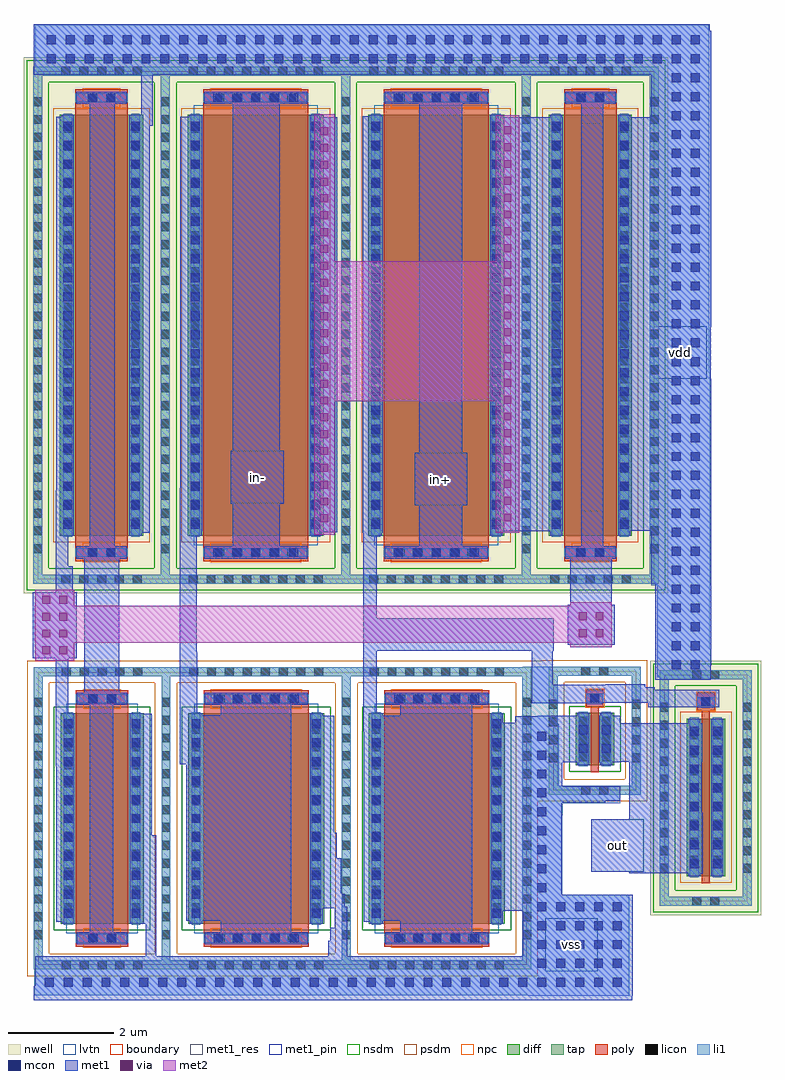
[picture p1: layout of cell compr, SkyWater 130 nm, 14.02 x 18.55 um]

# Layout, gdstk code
import gdstk
lib = gdstk.Library(unit=1e-6, precision=1e-09)
def R(c, l, rs):  # rectangles x0, y0, x1, y1
    for r in rs: c.add(gdstk.rectangle(r[:2], r[2:], *l))
def A(c, l, x, y, w, h, nx, ny, dx, dy):  # array of equal rectangles
    R(c, l, [(x+i*dx, y+j*dy, x+i*dx+w, y+j*dy+h) for i in range(nx) for j in range(ny)])
nwell = (64, 20)
diff = (65, 20)
tap = (65, 44)
poly = (66, 20)
licon = (66, 44)
li1 = (67, 20)
mcon = (67, 44)
met1_res = (68, 13)
met1_pin = (68, 16)
met1 = (68, 20)
via = (68, 44)
met2 = (69, 20)
nsdm = (93, 44)
psdm = (94, 20)
npc = (95, 20)
lvtn = (125, 44)
boundary = (235, 4)

sky130_fd_pr__nfet_01v8_ = lib.new_cell('sky130_fd_pr__nfet_01v8_64Z3AY')
R(sky130_fd_pr__nfet_01v8_, diff, [(-0.365,-0.655,0.365,0.345)])
R(sky130_fd_pr__nfet_01v8_, tap, [(-0.875,-1.215,0.875,-1.045), (-0.875,-1.045,-0.705,1.045), (0.705,-1.045,0.875,1.045), (-0.875,1.045,0.875,1.215)])
R(sky130_fd_pr__nfet_01v8_, poly, [(-0.075,-0.785,0.075,0.455), (-0.165,0.455,0.165,0.785)])
A(sky130_fd_pr__nfet_01v8_, licon, -0.875, -0.595, 0.17, 0.17, 1, 4, 0, 0.34)
A(sky130_fd_pr__nfet_01v8_, licon, 0.705, -0.595, 0.17, 0.17, 1, 4, 0, 0.34)
A(sky130_fd_pr__nfet_01v8_, licon, -0.305, -0.58, 0.17, 0.17, 1, 3, 0, 0.34)
A(sky130_fd_pr__nfet_01v8_, licon, 0.135, -0.58, 0.17, 0.17, 1, 3, 0, 0.34)
R(sky130_fd_pr__nfet_01v8_, licon, [(-0.255,-1.215,-0.085,-1.045), (0.085,-1.215,0.255,-1.045), (-0.085,0.535,0.085,0.705), (-0.255,1.045,-0.085,1.215), (0.085,1.045,0.255,1.215)])
R(sky130_fd_pr__nfet_01v8_, li1, [(-0.875,-1.215,0.875,-1.045), (-0.875,-1.045,-0.705,1.045), (0.705,-1.045,0.875,1.045), (-0.305,-0.675,-0.135,0.365), (0.135,-0.675,0.305,0.365), (-0.165,0.535,0.165,0.705), (-0.875,1.045,0.875,1.215)])
R(sky130_fd_pr__nfet_01v8_, mcon, [(-0.305,-0.42,-0.135,-0.25), (0.135,-0.42,0.305,-0.25), (-0.305,-0.06,-0.135,0.11), (0.135,-0.06,0.305,0.11), (-0.085,0.535,0.085,0.705)])
R(sky130_fd_pr__nfet_01v8_, met1, [(-0.335,-0.655,-0.105,0.345), (0.105,-0.655,0.335,0.345), (-0.145,0.505,0.145,0.735)])
R(sky130_fd_pr__nfet_01v8_, nsdm, [(-0.49,-0.78,0.49,0.47)])
R(sky130_fd_pr__nfet_01v8_, psdm, [(-1,-1.34,1,-0.92), (-1,-0.92,-0.58,0.92), (0.58,-0.92,1,0.92), (-1,0.92,1,1.34)])
R(sky130_fd_pr__nfet_01v8_, npc, [(-0.185,0.435,0.185,0.805)])
R(sky130_fd_pr__nfet_01v8_, boundary, [(-0.79,-1.13,0.79,1.13)])

c_sky130_fd_pr__nfet_01v8_ = lib.new_cell('sky130_fd_pr__nfet_01v8_lvt_AHMAL2')
R(c_sky130_fd_pr__nfet_01v8_, diff, [(-0.79,-2,0.79,2)])
R(c_sky130_fd_pr__nfet_01v8_, tap, [(-1.3,-2.87,1.3,-2.7), (-1.3,-2.7,-1.13,2.7), (1.13,-2.7,1.3,2.7), (-1.3,2.7,1.3,2.87)])
R(c_sky130_fd_pr__nfet_01v8_, poly, [(-0.5,-2.44,0.5,2.44)])
A(c_sky130_fd_pr__nfet_01v8_, licon, -0.765, -2.87, 0.17, 0.17, 5, 2, 0.34, 5.57)
A(c_sky130_fd_pr__nfet_01v8_, licon, -1.3, -2.295, 0.17, 0.17, 1, 14, 0, 0.34)
A(c_sky130_fd_pr__nfet_01v8_, licon, 1.13, -2.295, 0.17, 0.17, 1, 14, 0, 0.34)
A(c_sky130_fd_pr__nfet_01v8_, licon, -0.73, -1.785, 0.17, 0.17, 1, 11, 0, 0.34)
A(c_sky130_fd_pr__nfet_01v8_, licon, 0.56, -1.785, 0.17, 0.17, 1, 11, 0, 0.34)
R(c_sky130_fd_pr__nfet_01v8_, licon, [(-0.255,-2.36,-0.085,-2.19), (0.085,-2.36,0.255,-2.19), (-0.255,2.19,-0.085,2.36), (0.085,2.19,0.255,2.36)])
R(c_sky130_fd_pr__nfet_01v8_, li1, [(-1.3,-2.87,1.3,-2.7), (-1.3,-2.7,-1.13,2.7), (1.13,-2.7,1.3,2.7), (-0.5,-2.36,0.5,-2.19), (-0.73,-2.02,-0.56,2.02), (0.56,-2.02,0.73,2.02), (-0.5,2.19,0.5,2.36), (-1.3,2.7,1.3,2.87)])
A(c_sky130_fd_pr__nfet_01v8_, mcon, -0.73, -1.885, 0.17, 0.17, 1, 11, 0, 0.36)
A(c_sky130_fd_pr__nfet_01v8_, mcon, 0.56, -1.885, 0.17, 0.17, 1, 11, 0, 0.36)
R(c_sky130_fd_pr__nfet_01v8_, mcon, [(-0.265,-2.36,-0.095,-2.19), (0.095,-2.36,0.265,-2.19), (-0.265,2.19,-0.095,2.36), (0.095,2.19,0.265,2.36)])
R(c_sky130_fd_pr__nfet_01v8_, met1, [(-0.48,-2.39,0.48,-2.16), (-0.76,-2,-0.53,2), (0.53,-2,0.76,2), (-0.48,2.16,0.48,2.39)])
R(c_sky130_fd_pr__nfet_01v8_, nsdm, [(-0.915,-2.125,0.915,2.125)])
R(c_sky130_fd_pr__nfet_01v8_, psdm, [(-1.425,-2.995,1.425,-2.575), (-1.425,-2.575,-1.005,2.575), (1.005,-2.575,1.425,2.575), (-1.425,2.575,1.425,2.995)])
R(c_sky130_fd_pr__nfet_01v8_, npc, [(-0.355,-2.46,0.355,-2.09), (-0.355,2.09,0.355,2.46)])
R(c_sky130_fd_pr__nfet_01v8_, lvtn, [(-0.68,-2.18,0.68,2.18)])
R(c_sky130_fd_pr__nfet_01v8_, boundary, [(-1.21,-2.78,1.21,2.78)])

c_sky130_fd_pr__nfet_01v8__ = lib.new_cell('sky130_fd_pr__nfet_01v8_lvt_AHRV9L')
R(c_sky130_fd_pr__nfet_01v8__, diff, [(-1.29,-2,1.29,2)])
R(c_sky130_fd_pr__nfet_01v8__, tap, [(-1.8,-2.87,1.8,-2.7), (-1.8,-2.7,-1.63,2.7), (1.63,-2.7,1.8,2.7), (-1.8,2.7,1.8,2.87)])
R(c_sky130_fd_pr__nfet_01v8__, poly, [(-1,-2.44,1,2.44)])
A(c_sky130_fd_pr__nfet_01v8__, licon, -1.275, -2.87, 0.17, 0.17, 8, 2, 0.34, 5.57)
A(c_sky130_fd_pr__nfet_01v8__, licon, -0.765, -2.36, 0.17, 0.17, 5, 2, 0.34, 4.55)
A(c_sky130_fd_pr__nfet_01v8__, licon, -1.8, -2.295, 0.17, 0.17, 1, 14, 0, 0.34)
A(c_sky130_fd_pr__nfet_01v8__, licon, 1.63, -2.295, 0.17, 0.17, 1, 14, 0, 0.34)
A(c_sky130_fd_pr__nfet_01v8__, licon, -1.23, -1.785, 0.17, 0.17, 1, 11, 0, 0.34)
A(c_sky130_fd_pr__nfet_01v8__, licon, 1.06, -1.785, 0.17, 0.17, 1, 11, 0, 0.34)
R(c_sky130_fd_pr__nfet_01v8__, li1, [(-1.8,-2.87,1.8,-2.7), (-1.8,-2.7,-1.63,2.7), (1.63,-2.7,1.8,2.7), (-1,-2.36,1,-2.19), (-1.23,-2.02,-1.06,2.02), (1.06,-2.02,1.23,2.02), (-1,2.19,1,2.36), (-1.8,2.7,1.8,2.87)])
A(c_sky130_fd_pr__nfet_01v8__, mcon, -0.805, -2.36, 0.17, 0.17, 5, 2, 0.36, 4.55)
A(c_sky130_fd_pr__nfet_01v8__, mcon, -1.23, -1.885, 0.17, 0.17, 1, 11, 0, 0.36)
A(c_sky130_fd_pr__nfet_01v8__, mcon, 1.06, -1.885, 0.17, 0.17, 1, 11, 0, 0.36)
R(c_sky130_fd_pr__nfet_01v8__, met1, [(-0.98,-2.39,0.98,-2.16), (-1.26,-2,-1.03,2), (1.03,-2,1.26,2), (-0.98,2.16,0.98,2.39)])
R(c_sky130_fd_pr__nfet_01v8__, nsdm, [(-1.415,-2.125,1.415,2.125)])
R(c_sky130_fd_pr__nfet_01v8__, psdm, [(-1.925,-2.995,1.925,-2.575), (-1.925,-2.575,-1.505,2.575), (1.505,-2.575,1.925,2.575), (-1.925,2.575,1.925,2.995)])
R(c_sky130_fd_pr__nfet_01v8__, npc, [(-0.865,-2.46,0.865,-2.09), (-0.865,2.09,0.865,2.46)])
R(c_sky130_fd_pr__nfet_01v8__, lvtn, [(-1.18,-2.18,1.18,2.18)])
R(c_sky130_fd_pr__nfet_01v8__, boundary, [(-1.71,-2.78,1.71,2.78)])

sky130_fd_pr__pfet_01v8_ = lib.new_cell('sky130_fd_pr__pfet_01v8_3H2EVM')
R(sky130_fd_pr__pfet_01v8_, nwell, [(-1.48,-5.095,1.48,5.095)])
R(sky130_fd_pr__pfet_01v8_, diff, [(-0.79,-4,0.79,4)])
R(sky130_fd_pr__pfet_01v8_, tap, [(-1.3,-4.915,1.3,-4.745), (-1.3,-4.745,-1.13,4.745), (1.13,-4.745,1.3,4.745), (-1.3,4.745,1.3,4.915)])
R(sky130_fd_pr__pfet_01v8_, poly, [(-0.5,-4.485,0.5,4.485)])
A(sky130_fd_pr__pfet_01v8_, licon, -0.765, -4.915, 0.17, 0.17, 5, 2, 0.34, 9.66)
A(sky130_fd_pr__pfet_01v8_, licon, -1.3, -4.335, 0.17, 0.17, 1, 26, 0, 0.34)
A(sky130_fd_pr__pfet_01v8_, licon, 1.13, -4.335, 0.17, 0.17, 1, 26, 0, 0.34)
A(sky130_fd_pr__pfet_01v8_, licon, -0.73, -3.825, 0.17, 0.17, 1, 23, 0, 0.34)
A(sky130_fd_pr__pfet_01v8_, licon, 0.56, -3.825, 0.17, 0.17, 1, 23, 0, 0.34)
R(sky130_fd_pr__pfet_01v8_, licon, [(-0.255,-4.405,-0.085,-4.235), (0.085,-4.405,0.255,-4.235), (-0.255,4.235,-0.085,4.405), (0.085,4.235,0.255,4.405)])
R(sky130_fd_pr__pfet_01v8_, li1, [(-1.3,-4.915,1.3,-4.745), (-1.3,-4.745,-1.13,4.745), (1.13,-4.745,1.3,4.745), (-0.5,-4.405,0.5,-4.235), (-0.73,-4.02,-0.56,4.02), (0.56,-4.02,0.73,4.02), (-0.5,4.235,0.5,4.405), (-1.3,4.745,1.3,4.915)])
A(sky130_fd_pr__pfet_01v8_, mcon, -0.73, -3.865, 0.17, 0.17, 1, 22, 0, 0.36)
A(sky130_fd_pr__pfet_01v8_, mcon, 0.56, -3.865, 0.17, 0.17, 1, 22, 0, 0.36)
R(sky130_fd_pr__pfet_01v8_, mcon, [(-0.265,-4.405,-0.095,-4.235), (0.095,-4.405,0.265,-4.235), (-0.265,4.235,-0.095,4.405), (0.095,4.235,0.265,4.405)])
R(sky130_fd_pr__pfet_01v8_, met1, [(-0.48,-4.435,0.48,-4.205), (-0.76,-4,-0.53,4), (0.53,-4,0.76,4), (-0.48,4.205,0.48,4.435)])
R(sky130_fd_pr__pfet_01v8_, nsdm, [(-1.425,-5.04,1.425,-4.62), (-1.425,-4.62,-1.005,4.62), (1.005,-4.62,1.425,4.62), (-1.425,4.62,1.425,5.04)])
R(sky130_fd_pr__pfet_01v8_, psdm, [(-0.915,-4.125,0.915,4.125)])
R(sky130_fd_pr__pfet_01v8_, npc, [(-0.355,-4.505,0.355,-4.135), (-0.355,4.135,0.355,4.505)])
R(sky130_fd_pr__pfet_01v8_, boundary, [(-1.215,-4.83,1.215,4.83)])

c_sky130_fd_pr__pfet_01v8_ = lib.new_cell('sky130_fd_pr__pfet_01v8_lvt_GWPMZG')
R(c_sky130_fd_pr__pfet_01v8_, nwell, [(-1.98,-5.095,1.98,5.095)])
R(c_sky130_fd_pr__pfet_01v8_, diff, [(-1.29,-4,1.29,4)])
R(c_sky130_fd_pr__pfet_01v8_, tap, [(-1.8,-4.915,1.8,-4.745), (-1.8,-4.745,-1.63,4.745), (1.63,-4.745,1.8,4.745), (-1.8,4.745,1.8,4.915)])
R(c_sky130_fd_pr__pfet_01v8_, poly, [(-1,-4.485,1,4.485)])
A(c_sky130_fd_pr__pfet_01v8_, licon, -1.275, -4.915, 0.17, 0.17, 8, 2, 0.34, 9.66)
A(c_sky130_fd_pr__pfet_01v8_, licon, -0.765, -4.405, 0.17, 0.17, 5, 2, 0.34, 8.64)
A(c_sky130_fd_pr__pfet_01v8_, licon, -1.8, -4.335, 0.17, 0.17, 1, 26, 0, 0.34)
A(c_sky130_fd_pr__pfet_01v8_, licon, 1.63, -4.335, 0.17, 0.17, 1, 26, 0, 0.34)
A(c_sky130_fd_pr__pfet_01v8_, licon, -1.23, -3.825, 0.17, 0.17, 1, 23, 0, 0.34)
A(c_sky130_fd_pr__pfet_01v8_, licon, 1.06, -3.825, 0.17, 0.17, 1, 23, 0, 0.34)
R(c_sky130_fd_pr__pfet_01v8_, li1, [(-1.8,-4.915,1.8,-4.745), (-1.8,-4.745,-1.63,4.745), (1.63,-4.745,1.8,4.745), (-1,-4.405,1,-4.235), (-1.23,-4.02,-1.06,4.02), (1.06,-4.02,1.23,4.02), (-1,4.235,1,4.405), (-1.8,4.745,1.8,4.915)])
A(c_sky130_fd_pr__pfet_01v8_, mcon, -0.805, -4.405, 0.17, 0.17, 5, 2, 0.36, 8.64)
A(c_sky130_fd_pr__pfet_01v8_, mcon, -1.23, -3.865, 0.17, 0.17, 1, 22, 0, 0.36)
A(c_sky130_fd_pr__pfet_01v8_, mcon, 1.06, -3.865, 0.17, 0.17, 1, 22, 0, 0.36)
R(c_sky130_fd_pr__pfet_01v8_, met1, [(-0.98,-4.435,0.98,-4.205), (-1.26,-4,-1.03,4), (1.03,-4,1.26,4), (-0.98,4.205,0.98,4.435)])
R(c_sky130_fd_pr__pfet_01v8_, nsdm, [(-1.925,-5.04,1.925,-4.62), (-1.925,-4.62,-1.505,4.62), (1.505,-4.62,1.925,4.62), (-1.925,4.62,1.925,5.04)])
R(c_sky130_fd_pr__pfet_01v8_, psdm, [(-1.415,-4.125,1.415,4.125)])
R(c_sky130_fd_pr__pfet_01v8_, npc, [(-0.865,-4.505,0.865,-4.135), (-0.865,4.135,0.865,4.505)])
R(c_sky130_fd_pr__pfet_01v8_, lvtn, [(-1.18,-4.18,1.18,4.18)])
R(c_sky130_fd_pr__pfet_01v8_, boundary, [(-1.715,-4.83,1.715,4.83)])

c_sky130_fd_pr__pfet_01v8__ = lib.new_cell('sky130_fd_pr__pfet_01v8_MGSNAN')
R(c_sky130_fd_pr__pfet_01v8__, nwell, [(-1.055,-2.42,1.055,2.42)])
R(c_sky130_fd_pr__pfet_01v8__, diff, [(-0.365,-1.68,0.365,1.32)])
R(c_sky130_fd_pr__pfet_01v8__, tap, [(-0.875,-2.24,0.875,-2.07), (-0.875,-2.07,-0.705,2.07), (0.705,-2.07,0.875,2.07), (-0.875,2.07,0.875,2.24)])
R(c_sky130_fd_pr__pfet_01v8__, poly, [(-0.075,-1.81,0.075,1.475), (-0.165,1.475,0.165,1.805)])
A(c_sky130_fd_pr__pfet_01v8__, licon, -0.875, -1.615, 0.17, 0.17, 1, 10, 0, 0.34)
A(c_sky130_fd_pr__pfet_01v8__, licon, 0.705, -1.615, 0.17, 0.17, 1, 10, 0, 0.34)
A(c_sky130_fd_pr__pfet_01v8__, licon, -0.305, -1.455, 0.17, 0.17, 1, 8, 0, 0.34)
A(c_sky130_fd_pr__pfet_01v8__, licon, 0.135, -1.455, 0.17, 0.17, 1, 8, 0, 0.34)
R(c_sky130_fd_pr__pfet_01v8__, licon, [(-0.255,-2.24,-0.085,-2.07), (0.085,-2.24,0.255,-2.07), (-0.085,1.555,0.085,1.725), (-0.255,2.07,-0.085,2.24), (0.085,2.07,0.255,2.24)])
R(c_sky130_fd_pr__pfet_01v8__, li1, [(-0.875,-2.24,0.875,-2.07), (-0.875,-2.07,-0.705,2.07), (0.705,-2.07,0.875,2.07), (-0.305,-1.7,-0.135,1.34), (0.135,-1.7,0.305,1.34), (-0.165,1.555,0.165,1.725), (-0.875,2.07,0.875,2.24)])
A(c_sky130_fd_pr__pfet_01v8__, mcon, -0.305, -1.525, 0.17, 0.17, 1, 8, 0, 0.36)
A(c_sky130_fd_pr__pfet_01v8__, mcon, 0.135, -1.525, 0.17, 0.17, 1, 8, 0, 0.36)
R(c_sky130_fd_pr__pfet_01v8__, mcon, [(-0.085,1.555,0.085,1.725)])
R(c_sky130_fd_pr__pfet_01v8__, met1, [(-0.335,-1.68,-0.105,1.32), (0.105,-1.68,0.335,1.32), (-0.145,1.525,0.145,1.755)])
R(c_sky130_fd_pr__pfet_01v8__, nsdm, [(-1,-2.365,1,-1.945), (-1,-1.945,-0.58,1.945), (0.58,-1.945,1,1.945), (-1,1.945,1,2.365)])
R(c_sky130_fd_pr__pfet_01v8__, psdm, [(-0.49,-1.805,0.49,1.445)])
R(c_sky130_fd_pr__pfet_01v8__, npc, [(-0.185,1.455,0.185,1.825)])
R(c_sky130_fd_pr__pfet_01v8__, boundary, [(-0.79,-2.155,0.79,2.155)])

compr = lib.new_cell('compr')
R(compr, li1, [(15.74,-1.91,17.66,-1.9), (6.35,-1.9,17.66,-1.23), (15.67,-1.23,17.66,0.01), (15.67,0.01,16.39,1.42), (15.64,1.42,16.39,1.52), (15.64,1.52,16.4,1.75), (15.64,1.75,17.49,2.07), (15.64,2.07,16.32,3.26), (15.64,3.26,16.26,4.34), (18.34,4.1,19.21,4.14), (18.19,4.14,19.21,4.67), (18.19,4.67,19.19,5.89), (18.08,5.89,19.2,9.98), (18.08,9.98,19.18,15.6), (6.37,15.6,19.18,16.44), (6.37,16.44,19.17,16.55)])
A(compr, mcon, 6.55, -1.74, 0.17, 0.17, 31, 1, 0.36, 0)
A(compr, mcon, 15.91, -1.38, 0.17, 0.17, 5, 4, 0.36, 0.36)
A(compr, mcon, 15.91, 0.06, 0.17, 0.17, 1, 9, 0, 0.36)
A(compr, mcon, 18.47, 4.295, 0.17, 0.17, 1, 32, 0, 0.36)
A(compr, mcon, 18.83, 4.295, 0.17, 0.17, 1, 32, 0, 0.36)
A(compr, mcon, 6.59, 15.815, 0.17, 0.17, 35, 2, 0.36, 0.36)
R(compr, met1_res, [(16.75,7.3,17.17,14.67)])
R(compr, met1_pin, [(16.06,-1.44,17.06,-0.44), (16.94,0.45,17.94,1.45), (13.58,7.41,14.58,8.41), (10.09,7.45,11.09,8.45), (18.13,9.82,19.13,10.82)])
R(compr, met1, [(6.34,-1.99,17.72,-1.91), (6.34,-1.91,17.73,-1.73), (6.37,-1.73,17.73,-1.16), (8.47,-1.16,8.67,-0.54), (11.94,-1.16,12.3,-0.86), (15.64,-1.16,17.73,-0.29), (7.41,-0.88,7.85,3.66), (9.9,-0.88,11.24,-0.48), (13.31,-0.88,14.68,-0.48), (11.98,-0.86,12.3,-0.62), (12.06,-0.62,12.3,-0.25), (8.24,-0.54,8.67,1.14), (6.77,-0.5,7.07,2.45), (11.65,-0.5,11.8,-0.25), (12.61,-0.5,12.96,-0.48), (9.24,-0.48,11.24,2.49), (12.61,-0.48,14.68,3.12), (15.09,-0.47,15.16,-0.29), (15.09,-0.29,17.73,0.01), (11.65,-0.25,12.3,-0.22), (11.65,-0.22,12.25,0.03), (15.09,0.01,16.38,1.76), (11.65,0.03,12.19,0.7), (18.83,0.41,19.06,0.42), (17.66,0.42,19.06,0.45), (16.94,0.45,19.06,1.45), (11.65,0.7,12.1,1.19), (8.24,1.14,8.58,3.45), (11.65,1.19,12.05,3.41), (17.66,1.45,19.06,1.58), (17.66,1.58,19.04,2.54), (15.09,1.76,17.2,1.8), (15.09,1.8,17.49,2.07), (15.09,2.07,16.39,2.53), (6.76,2.45,7.07,3.43), (9.12,2.49,11.24,3.42), (15.09,2.53,16.82,3.28), (17.09,2.53,17.49,2.54), (17.09,2.54,19.05,3.27), (12.6,3.12,14.68,3.41), (17.09,3.27,17.49,3.41), (15.09,3.28,15.17,3.39), (15.49,3.28,16.82,3.4), (15.92,3.4,16.82,3.41), (12.6,3.41,12.96,3.46), (13.31,3.41,14.68,3.82), (9.12,3.42,9.45,4.62), (9.9,3.42,11.24,3.82), (6.76,3.43,7,4.51), (12.6,3.46,12.86,4.65), (18.02,3.57,19.37,3.66), (15.81,3.65,17.12,3.66), (7.3,3.66,7.97,6.61), (15.81,3.66,19.37,3.91), (15.81,3.91,18.14,3.95), (15.81,3.95,17.96,4), (15.81,4,16.21,4.65), (17.21,4,17.96,4.01), (18.15,4.1,19.21,4.37), (18.15,4.37,19.22,5.92), (6.32,4.51,7.16,5.76), (9.12,4.62,9.44,6.92), (12.6,4.65,16.22,5.27), (16.49,4.76,17.38,5.52), (12.6,5.27,12.86,6.89), (16.54,5.52,17.33,6.62), (6.76,5.76,7.08,6.25), (18.08,5.92,19.22,6.93), (6.76,6.25,7,6.83), (13.67,6.45,14.49,7.41), (10.12,6.46,11.02,7.44), (7.41,6.61,7.88,15.26), (16.75,6.62,17.17,15.26), (6.76,6.83,7.08,7.69), (8.24,6.89,8.55,14.63), (12.59,6.89,12.97,14.81), (11.62,6.9,12.11,14.79), (9.12,6.92,9.54,7.74), (15.06,6.92,16.4,14.79), (17.5,6.93,19.22,9.81), (13.58,7.41,14.58,8.41), (10.09,7.44,11.09,8.45), (6.77,7.69,7.08,14.8), (9.13,7.74,9.54,14.8), (13.67,8.41,14.49,15.27), (10.12,8.45,11.02,15.25), (17.5,9.81,19.21,10.81), (17.5,10.81,19.22,14.79), (8.24,14.63,8.6,14.78), (8.38,14.78,8.6,15.6), (18.08,14.79,19.22,15.6), (9.34,14.8,9.54,14.81), (6.34,15.6,19.22,16.43), (6.34,16.43,19.19,16.56)])
A(compr, via, 6.505, 4.58, 0.15, 0.15, 1, 4, 0, 0.32)
A(compr, via, 6.825, 4.58, 0.15, 0.15, 1, 4, 0, 0.32)
A(compr, via, 11.79, 7.09, 0.15, 0.15, 1, 24, 0, 0.32)
A(compr, via, 15.27, 7.105, 0.15, 0.15, 1, 24, 0, 0.32)
R(compr, via, [(16.7,4.905,16.85,5.055), (17.02,4.905,17.17,5.055), (16.7,5.225,16.85,5.375), (17.02,5.225,17.17,5.375)])
R(compr, met2, [(6.37,4.46,7.11,4.8), (16.54,4.71,17.33,4.8), (6.36,4.8,17.33,5.5), (6.37,5.5,7.11,5.81), (16.54,5.5,17.33,5.57), (11.67,6.85,12.06,9.39), (15.12,6.89,15.57,9.39), (11.67,9.39,15.57,12.05), (11.67,12.05,12.06,14.84), (15.12,12.05,15.57,14.83)])
R(compr, psdm, [(15.925,1.785,16.005,4.455)])
compr.add(gdstk.Reference(sky130_fd_pr__nfet_01v8_, (17.005,3.125)))
compr.add(gdstk.Reference(c_sky130_fd_pr__nfet_01v8_, (7.64,1.46)))
compr.add(gdstk.Reference(c_sky130_fd_pr__nfet_01v8__, (10.57,1.46)))
compr.add(gdstk.Reference(c_sky130_fd_pr__nfet_01v8__, (14,1.46)))
compr.add(gdstk.Reference(sky130_fd_pr__pfet_01v8_, (7.63,10.835)))
compr.add(gdstk.Reference(sky130_fd_pr__pfet_01v8_, (16.92,10.835)))
compr.add(gdstk.Reference(c_sky130_fd_pr__pfet_01v8_, (10.56,10.835)))
compr.add(gdstk.Reference(c_sky130_fd_pr__pfet_01v8_, (13.99,10.835)))
compr.add(gdstk.Reference(c_sky130_fd_pr__pfet_01v8__, (19.115,2.04)))
compr.add(gdstk.Label('out', (17.44,0.95), layer=68, texttype=5))
compr.add(gdstk.Label('vdd', (18.63,10.32), layer=68, texttype=5))
compr.add(gdstk.Label('in+', (14.08,7.91), layer=68, texttype=5))
compr.add(gdstk.Label('in-', (10.59,7.95), layer=68, texttype=5))
compr.add(gdstk.Label('vss', (16.56,-0.94), layer=68, texttype=5))

lib.write_gds('compr.gds')
